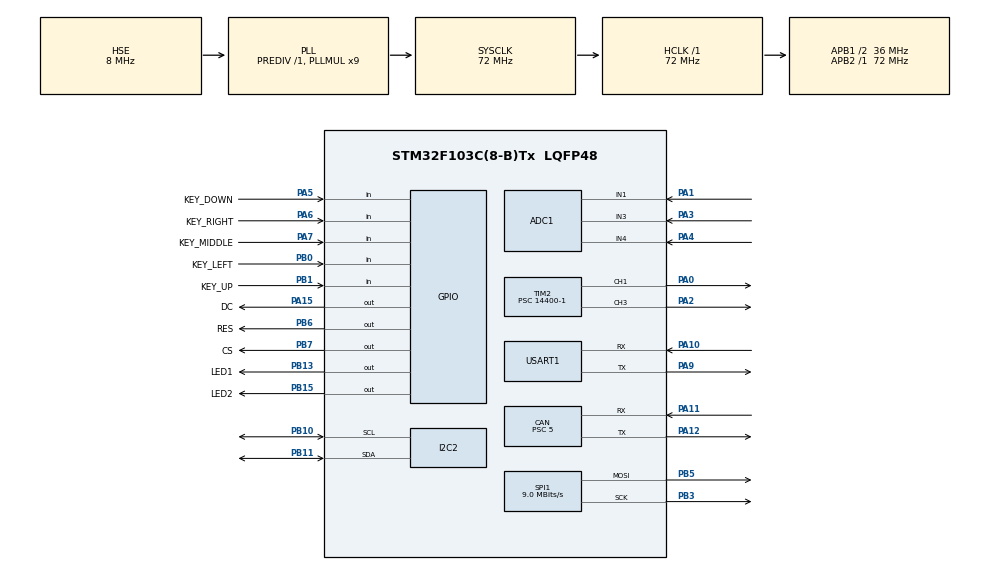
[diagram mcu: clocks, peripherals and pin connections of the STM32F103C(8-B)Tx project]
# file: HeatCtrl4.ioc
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ADC1.Channel-0\#ChannelRegularConversion=ADC_CHANNEL_1
ADC1.Channel-1\#ChannelRegularConversion=ADC_CHANNEL_3
ADC1.Channel-2\#ChannelRegularConversion=ADC_CHANNEL_4
ADC1.ContinuousConvMode=ENABLE
ADC1.NbrOfConversion=3
ADC1.NbrOfConversionFlag=1
ADC1.Rank-0\#ChannelRegularConversion=1
ADC1.Rank-1\#ChannelRegularConversion=2
ADC1.Rank-2\#ChannelRegularConversion=3
ADC1.SamplingTime-0\#ChannelRegularConversion=ADC_SAMPLETIME_55CYCLES_5
ADC1.SamplingTime-1\#ChannelRegularConversion=ADC_SAMPLETIME_55CYCLES_5
ADC1.SamplingTime-2\#ChannelRegularConversion=ADC_SAMPLETIME_55CYCLES_5
ADC1.master=1
CAN.BS1=CAN_BS1_4TQ
CAN.BS2=CAN_BS2_3TQ
CAN.CalculateBaudRate=900000
CAN.CalculateTimeBit=1111
CAN.CalculateTimeQuantum=138.88888888888889
CAN.Prescaler=5
Dma.ADC1.0.Direction=DMA_PERIPH_TO_MEMORY
Dma.ADC1.0.Instance=DMA1_Channel1
Dma.ADC1.0.MemDataAlignment=DMA_MDATAALIGN_HALFWORD
Dma.ADC1.0.MemInc=DMA_MINC_ENABLE
Dma.ADC1.0.Mode=DMA_CIRCULAR
Dma.ADC1.0.PeriphDataAlignment=DMA_PDATAALIGN_HALFWORD
Dma.ADC1.0.PeriphInc=DMA_PINC_DISABLE
Dma.ADC1.0.Priority=DMA_PRIORITY_LOW
Dma.Request0=ADC1
Dma.Request1=SPI1_TX
Dma.SPI1_TX.1.Direction=DMA_MEMORY_TO_PERIPH
Dma.SPI1_TX.1.Instance=DMA1_Channel3
Dma.SPI1_TX.1.MemDataAlignment=DMA_MDATAALIGN_BYTE
Dma.SPI1_TX.1.MemInc=DMA_MINC_ENABLE
Dma.SPI1_TX.1.Mode=DMA_NORMAL
Dma.SPI1_TX.1.PeriphDataAlignment=DMA_PDATAALIGN_BYTE
Dma.SPI1_TX.1.PeriphInc=DMA_PINC_DISABLE
Dma.SPI1_TX.1.Priority=DMA_PRIORITY_LOW
FREERTOS.Queues01=Queue_OLEDKeys,10,uint8_t,0,Dynamic,NULL,NULL
FREERTOS.Tasks01=TaskApp,40,256,AppTask_App,As weak,NULL,Dynamic,NULL,NULL;TaskOutPut,24,128,AppTask_OutPut,As weak,NULL,Dynamic,NULL,NULL;TaskMessSend,24,256,AppTask_MessSend,As weak,NULL,Dynamic,NULL,NULL;TaskSerCom,24,256,AppTask_SerCom,As weak,&shell,Dynamic,NULL,NULL;TaskCanCom,24,128,AppTask_CanCom,As weak,NULL,Dynamic,NULL,NULL;TaskKey,32,128,AppTask_Key,As weak,NULL,Dynamic,NULL,NULL;TaskMenu,24,256,AppTask_Menu,As weak,NULL,Dynamic,NULL,NULL
FREERTOS.configTOTAL_HEAP_SIZE=8192
FREERTOS.configUSE_NEWLIB_REENTRANT=0
Mcu.Family=STM32F1
Mcu.Name=STM32F103C(8-B)Tx
Mcu.Package=LQFP48
NVIC.DMA1_Channel1_IRQn=true\:5\:0\:false\:false\:true\:true\:false\:true\:true
NVIC.DMA1_Channel3_IRQn=true\:5\:0\:false\:false\:true\:true\:false\:true\:true
NVIC.PriorityGroup=NVIC_PRIORITYGROUP_4
NVIC.TIM4_IRQn=true\:0\:0\:true\:false\:true\:false\:false\:true\:true
NVIC.TimeBase=TIM4_IRQn
NVIC.TimeBaseIP=TIM4
PA0-WKUP.Signal=S_TIM2_CH1_ETR
PA1.Signal=ADCx_IN1
PA10.Mode=Asynchronous
PA10.Signal=USART1_RX
PA11.Mode=CAN_Activate
PA11.Signal=CAN_RX
PA12.Mode=CAN_Activate
PA12.Signal=CAN_TX
PA13.Mode=Serial_Wire
PA13.Signal=SYS_JTMS-SWDIO
PA14.Mode=Serial_Wire
PA14.Signal=SYS_JTCK-SWCLK
PA15.GPIO_Label=DC
PA15.GPIO_PuPd=GPIO_PULLUP
PA15.GPIO_Speed=GPIO_SPEED_FREQ_HIGH
PA15.Signal=GPIO_Output
PA2.Signal=S_TIM2_CH3
PA3.Signal=ADCx_IN3
PA4.Signal=ADCx_IN4
PA5.GPIO_Label=KEY_DOWN
PA5.GPIO_PuPd=GPIO_PULLUP
PA5.Signal=GPIO_Input
PA6.GPIO_Label=KEY_RIGHT
PA6.GPIO_PuPd=GPIO_PULLUP
PA6.Signal=GPIO_Input
PA7.GPIO_Label=KEY_MIDDLE
PA7.GPIO_PuPd=GPIO_PULLUP
PA7.Signal=GPIO_Input
PA9.Mode=Asynchronous
PA9.Signal=USART1_TX
PB0.GPIO_Label=KEY_LEFT
PB0.GPIO_PuPd=GPIO_PULLUP
PB0.Signal=GPIO_Input
PB1.GPIO_Label=KEY_UP
PB1.GPIO_PuPd=GPIO_PULLUP
PB1.Signal=GPIO_Input
PB10.Mode=I2C
PB10.Signal=I2C2_SCL
PB11.Mode=I2C
PB11.Signal=I2C2_SDA
PB13.GPIO_Label=LED1
PB13.Signal=GPIO_Output
PB15.GPIO_Label=LED2
PB15.Signal=GPIO_Output
PB3.Mode=TX_Only_Simplex_Unidirect_Master
PB3.Signal=SPI1_SCK
PB5.Mode=TX_Only_Simplex_Unidirect_Master
PB5.Signal=SPI1_MOSI
PB6.GPIO_Label=RES
PB6.GPIO_PuPd=GPIO_PULLUP
PB6.GPIO_Speed=GPIO_SPEED_FREQ_HIGH
PB6.Signal=GPIO_Output
PB7.GPIO_Label=CS
PB7.GPIO_PuPd=GPIO_PULLUP
PB7.GPIO_Speed=GPIO_SPEED_FREQ_HIGH
PB7.Signal=GPIO_Output
PD0-OSC_IN.Mode=HSE-External-Oscillator
PD0-OSC_IN.Signal=RCC_OSC_IN
PD1-OSC_OUT.Mode=HSE-External-Oscillator
PD1-OSC_OUT.Signal=RCC_OSC_OUT
ProjectManager.HeapSize=0x1000
ProjectManager.StackSize=0x1000
ProjectManager.TargetToolchain=MDK-ARM V5.32
RCC.ADCPresc=RCC_ADCPCLK2_DIV6
RCC.AHBFreq_Value=72000000
RCC.APB1CLKDivider=RCC_HCLK_DIV2
RCC.APB1Freq_Value=36000000
RCC.APB1TimFreq_Value=72000000
RCC.APB2Freq_Value=72000000
RCC.APB2TimFreq_Value=72000000
RCC.HCLKFreq_Value=72000000
RCC.PLLMUL=RCC_PLL_MUL9
RCC.PLLSourceVirtual=RCC_PLLSOURCE_HSE
RCC.SYSCLKFreq_VALUE=72000000
RCC.SYSCLKSource=RCC_SYSCLKSOURCE_PLLCLK
RCC.USBFreq_Value=72000000
SH.ADCx_IN1.0=ADC1_IN1,IN1
SH.ADCx_IN3.0=ADC1_IN3,IN3
SH.ADCx_IN4.0=ADC1_IN4,IN4
SH.S_TIM2_CH1_ETR.0=TIM2_CH1,PWM Generation1 CH1
SH.S_TIM2_CH3.0=TIM2_CH3,PWM Generation3 CH3
SPI1.BaudRatePrescaler=SPI_BAUDRATEPRESCALER_8
SPI1.CalculateBaudRate=9.0 MBits/s
SPI1.Direction=SPI_DIRECTION_2LINES
SPI1.Mode=SPI_MODE_MASTER
SPI1.VirtualType=VM_MASTER
TIM2.AutoReloadPreload=TIM_AUTORELOAD_PRELOAD_DISABLE
TIM2.Channel-PWM\ Generation1\ CH1=TIM_CHANNEL_1
TIM2.Channel-PWM\ Generation3\ CH3=TIM_CHANNEL_3
TIM2.Period=100-1
TIM2.Prescaler=14400-1
USART1.VirtualMode=VM_ASYNC
VP_FREERTOS_VS_CMSIS_V2.Mode=CMSIS_V2
VP_SYS_VS_tim4.Mode=TIM4
VP_TIM2_VS_ClockSourceINT.Mode=Internal
board=custom

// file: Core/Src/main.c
/* USER CODE BEGIN Header */
/**
 ******************************************************************************
 * @file           : main.c
 * @brief          : Main program body
 ******************************************************************************
 * @attention
 *
 * Copyright (c) 2024 STMicroelectronics.
 * All rights reserved.
 *
 * This software is licensed under terms that can be found in the LICENSE file
 * in the root directory of this software component.
 * If no LICENSE file comes with this software, it is provided AS-IS.
 *
 ******************************************************************************
 */
/* USER CODE END Header */
#include "main.h"
#include "cmsis_os.h"
#include "adc.h"
#include "can.h"
#include "dma.h"
#include "i2c.h"
#include "spi.h"
#include "tim.h"
#include "usart.h"
#include "gpio.h"

/* USER CODE BEGIN Includes */
#include "USERAPP/UserApp.h"
#include "PWMOUT/pid.h"
/* USER CODE END Includes */

/* USER CODE BEGIN PTD */
//  uint8_t recv_buf = 0;
/* USER CODE END PTD */

void SystemClock_Config(void);
void MX_FREERTOS_Init(void);

/* USER CODE BEGIN 0 */
uint8_t out_state;
u8g2_t u8g2;
/* USER CODE END 0 */

int main(void)
{

  /* MCU Configuration--------------------------------------------------------*/

  /* Reset of all peripherals, Initializes the Flash interface and the Systick. */
  HAL_Init();

  /* Configure the system clock */
  SystemClock_Config();

  /* Initialize all configured peripherals */
  MX_GPIO_Init();
  MX_DMA_Init();
  MX_SPI1_Init();
  MX_ADC1_Init();
  MX_TIM2_Init();
  MX_USART1_UART_Init();
  MX_I2C2_Init();
  MX_CAN_Init();
  /* USER CODE BEGIN 2 */
  HAL_ADCEx_Calibration_Start(&hadc1);
  HAL_ADC_Start_DMA(&hadc1, (uint32_t *)&dmaadc, 3);

  HAL_TIM_Base_Start_IT(&htim2);
  HAL_TIM_PWM_Start_IT(&htim2, TIM_CHANNEL_1);
  HAL_TIM_PWM_Start_IT(&htim2, TIM_CHANNEL_3);

  NTC1save_init(ntc1save);
  userShellInit();
  Key_Loading();

  if (CAN_SetFilters() == HAL_OK)
  {
  }
  if (HAL_CAN_Start(&hcan) == HAL_OK)
  {
  }
  u8g2Init(&u8g2);

  /* USER CODE END 2 */

  /* Init scheduler */
  osKernelInitialize();  /* Call init function for freertos objects (in freertos.c) */
  MX_FREERTOS_Init();

  /* Start scheduler */
  osKernelStart();

  /* We should never get here as control is now taken by the scheduler */
  /* Infinite loop */
  while (1)
  {

  }
}

void SystemClock_Config(void)
{
  RCC_OscInitTypeDef RCC_OscInitStruct = {0};
  RCC_ClkInitTypeDef RCC_ClkInitStruct = {0};
  RCC_PeriphCLKInitTypeDef PeriphClkInit = {0};

  /** Initializes the RCC Oscillators according to the specified parameters
  * in the RCC_OscInitTypeDef structure.
  */
  RCC_OscInitStruct.OscillatorType = RCC_OSCILLATORTYPE_HSE;
  RCC_OscInitStruct.HSEState = RCC_HSE_ON;
  RCC_OscInitStruct.HSEPredivValue = RCC_HSE_PREDIV_DIV1;
  RCC_OscInitStruct.HSIState = RCC_HSI_ON;
  RCC_OscInitStruct.PLL.PLLState = RCC_PLL_ON;
  RCC_OscInitStruct.PLL.PLLSource = RCC_PLLSOURCE_HSE;
  RCC_OscInitStruct.PLL.PLLMUL = RCC_PLL_MUL9;
  if (HAL_RCC_OscConfig(&RCC_OscInitStruct) != HAL_OK)
  {
    Error_Handler();
  }

  /** Initializes the CPU, AHB and APB buses clocks
  */
  RCC_ClkInitStruct.ClockType = RCC_CLOCKTYPE_HCLK|RCC_CLOCKTYPE_SYSCLK
                              |RCC_CLOCKTYPE_PCLK1|RCC_CLOCKTYPE_PCLK2;
  RCC_ClkInitStruct.SYSCLKSource = RCC_SYSCLKSOURCE_PLLCLK;
  RCC_ClkInitStruct.AHBCLKDivider = RCC_SYSCLK_DIV1;
  RCC_ClkInitStruct.APB1CLKDivider = RCC_HCLK_DIV2;
  RCC_ClkInitStruct.APB2CLKDivider = RCC_HCLK_DIV1;

  if (HAL_RCC_ClockConfig(&RCC_ClkInitStruct, FLASH_LATENCY_2) != HAL_OK)
  {
    Error_Handler();
  }
  PeriphClkInit.PeriphClockSelection = RCC_PERIPHCLK_ADC;
  PeriphClkInit.AdcClockSelection = RCC_ADCPCLK2_DIV6;
  if (HAL_RCCEx_PeriphCLKConfig(&PeriphClkInit) != HAL_OK)
  {
    Error_Handler();
  }
}

/* USER CODE BEGIN 4 */
//  void HAL_UART_RxCpltCallback(UART_HandleTypeDef *huart)
//  {

//      if(huart ->Instance == USART2)
//      {

//  			  shellHandler(&shell, recv_buf);
//  			  HAL_UART_Receive_IT(&huart1, (uint8_t*)&recv_buf, 1);
//      }
//  }
/* USER CODE END 4 */

void HAL_TIM_PeriodElapsedCallback(TIM_HandleTypeDef *htim)
{
  if (htim->Instance == TIM4) {
    HAL_IncTick();
  }
}

void Error_Handler(void)
{
  __disable_irq();
  while (1)
  {
  }
}

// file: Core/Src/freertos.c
/* USER CODE BEGIN Header */
/**
  ******************************************************************************
  * File Name          : freertos.c
  * Description        : Code for freertos applications
  ******************************************************************************
  * @attention
  *
  * Copyright (c) 2024 STMicroelectronics.
  * All rights reserved.
  *
  * This software is licensed under terms that can be found in the LICENSE file
  * in the root directory of this software component.
  * If no LICENSE file comes with this software, it is provided AS-IS.
  *
  ******************************************************************************
  */
/* USER CODE END Header */

#include "FreeRTOS.h"
#include "task.h"
#include "main.h"
#include "cmsis_os.h"

/* USER CODE BEGIN Includes */
#include "USERAPP/UserApp.h"
#include "shell_port.h"
#include "timers.h"
/* USER CODE END Includes */

/* Definitions for TaskApp */
osThreadId_t TaskAppHandle;
const osThreadAttr_t TaskApp_attributes = {
  .name = "TaskApp",
  .stack_size = 256 * 4,
  .priority = (osPriority_t) osPriorityHigh,
};
/* Definitions for TaskOutPut */
osThreadId_t TaskOutPutHandle;
const osThreadAttr_t TaskOutPut_attributes = {
  .name = "TaskOutPut",
  .stack_size = 128 * 4,
  .priority = (osPriority_t) osPriorityNormal,
};
/* Definitions for TaskMessSend */
osThreadId_t TaskMessSendHandle;
const osThreadAttr_t TaskMessSend_attributes = {
  .name = "TaskMessSend",
  .stack_size = 256 * 4,
  .priority = (osPriority_t) osPriorityNormal,
};
/* Definitions for TaskSerCom */
osThreadId_t TaskSerComHandle;
const osThreadAttr_t TaskSerCom_attributes = {
  .name = "TaskSerCom",
  .stack_size = 256 * 4,
  .priority = (osPriority_t) osPriorityNormal,
};
/* Definitions for TaskCanCom */
osThreadId_t TaskCanComHandle;
const osThreadAttr_t TaskCanCom_attributes = {
  .name = "TaskCanCom",
  .stack_size = 128 * 4,
  .priority = (osPriority_t) osPriorityNormal,
};
/* Definitions for TaskKey */
osThreadId_t TaskKeyHandle;
const osThreadAttr_t TaskKey_attributes = {
  .name = "TaskKey",
  .stack_size = 128 * 4,
  .priority = (osPriority_t) osPriorityAboveNormal,
};
/* Definitions for TaskMenu */
osThreadId_t TaskMenuHandle;
const osThreadAttr_t TaskMenu_attributes = {
  .name = "TaskMenu",
  .stack_size = 256 * 4,
  .priority = (osPriority_t) osPriorityNormal,
};
/* Definitions for Queue_OLEDKeys */
osMessageQueueId_t Queue_OLEDKeysHandle;
const osMessageQueueAttr_t Queue_OLEDKeys_attributes = {
  .name = "Queue_OLEDKeys"
};

void AppTask_App(void *argument);
void AppTask_OutPut(void *argument);
void AppTask_MessSend(void *argument);
void AppTask_SerCom(void *argument);
void AppTask_CanCom(void *argument);
void AppTask_Key(void *argument);
void AppTask_Menu(void *argument);

void MX_FREERTOS_Init(void); /* (MISRA C 2004 rule 8.1) */

void MX_FREERTOS_Init(void) {

  /* Create the queue(s) */
  /* creation of Queue_OLEDKeys */
  Queue_OLEDKeysHandle = osMessageQueueNew (10, sizeof(uint8_t), &Queue_OLEDKeys_attributes);

  /* Create the thread(s) */
  /* creation of TaskApp */
  TaskAppHandle = osThreadNew(AppTask_App, NULL, &TaskApp_attributes);

  /* creation of TaskOutPut */
  TaskOutPutHandle = osThreadNew(AppTask_OutPut, NULL, &TaskOutPut_attributes);

  /* creation of TaskMessSend */
  TaskMessSendHandle = osThreadNew(AppTask_MessSend, NULL, &TaskMessSend_attributes);

  /* creation of TaskSerCom */
  TaskSerComHandle = osThreadNew(AppTask_SerCom, (void*) &shell, &TaskSerCom_attributes);

  /* creation of TaskCanCom */
  TaskCanComHandle = osThreadNew(AppTask_CanCom, NULL, &TaskCanCom_attributes);

  /* creation of TaskKey */
  TaskKeyHandle = osThreadNew(AppTask_Key, NULL, &TaskKey_attributes);

  /* creation of TaskMenu */
  TaskMenuHandle = osThreadNew(AppTask_Menu, NULL, &TaskMenu_attributes);

}

__weak void AppTask_App(void *argument)
{
  for(;;)
  {
    osDelay(1);
  }
}

__weak void AppTask_OutPut(void *argument)
{
  for(;;)
  {
    osDelay(1);
  }
}

__weak void AppTask_MessSend(void *argument)
{
  for(;;)
  {
    osDelay(1);
  }
}

__weak void AppTask_SerCom(void *argument)
{
  for(;;)
  {
    osDelay(1);
  }
}

__weak void AppTask_CanCom(void *argument)
{
  for(;;)
  {
    osDelay(1);
  }
}

__weak void AppTask_Key(void *argument)
{
  for(;;)
  {
    osDelay(1);
  }
}

__weak void AppTask_Menu(void *argument)
{
  for(;;)
  {
    osDelay(1);
  }
}
